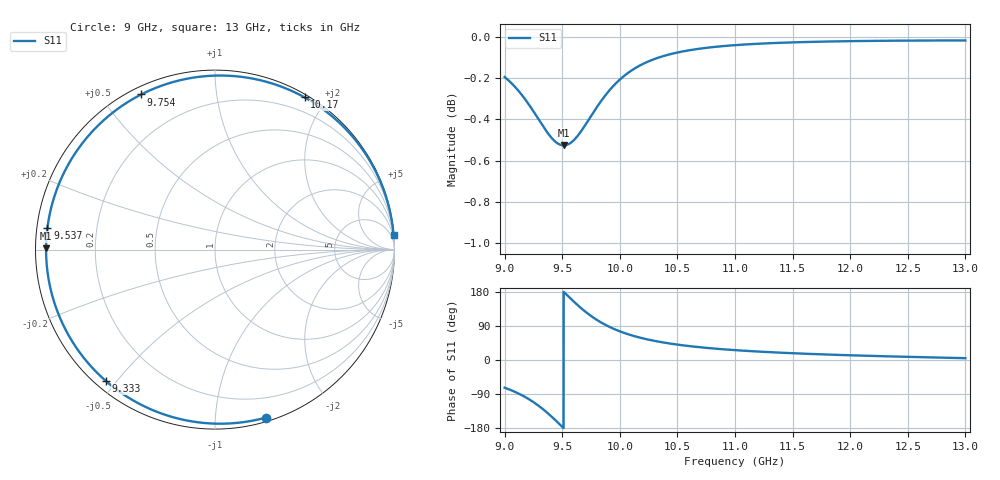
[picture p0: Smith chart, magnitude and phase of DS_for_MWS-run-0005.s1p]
! TOUCHSTONE file generated by CST DESIGN STUDIO
! Date and time: Tue Feb  4 14:06:50 2025
! Project name: C:\Work\MatlabApps\UnitCellOptimizationMatlab\CST\unitcell.cst
! Tree item: Tasks\Sweep1\SPara1\S-Parameters
! Header version: 2024
! Port assignment regex: !\s*Touchstone port\s*([0-9]+)\s*=\s*(CST MWS port|CST DES external port|CST DES block port)\s*(.+)\s* \(\"(.*)\"\)(\s*mode\s*([0-9]+))?.*
! Touchstone port assignment:
! Touchstone port 1 = CST DES external port 1 ("")
# GHz S MA R 50
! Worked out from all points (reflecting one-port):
!   4001 points, 9 GHz to 13 GHz, reference 50 ohm
!   lowest |S11| = -0.5 dB at 9.514 GHz (marker M1), VSWR 33.03, Z = 1.51 + j0.163 ohm
!   phase of S11 starts at -73 deg and turns -282 deg over the sweep
!   S11 on the Smith chart (normalised r, x): 9 GHz: 0.03, -1.35; 9.333 GHz: 0.03, -0.47; 9.537 GHz: 0.03, +0.06; 9.754 GHz: 0.03, +0.63; 10.17 GHz: 0.03, +1.75; 13 GHz: 1, +24
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9  0.978 -73.1
9.09  0.9726 -84.1
9.194  0.9645 -100.4
9.267  0.9578 -114.6
9.333  0.9514 -129.7
9.378  0.9475 -141.2
9.425  0.9441 -154.2
9.463  0.9422 -165.2
9.5  0.9413 -176.2
9.514  0.9412 179.6
9.537  0.9414 172.8
9.591  0.9434 156.9
9.651  0.9476 140.3
9.702  0.9522 127.3
9.754  0.9572 115.4
9.805  0.962 105.0
9.861  0.9669 95.1
10  0.9765 75.7
10.081  0.9806 67.1
10.168  0.9841 59.5
10.319  0.9883 49.4
10.5  0.9914 40.6
10.722  0.9938 32.9
11  0.9955 26.0
11.5  0.9971 17.9
12  0.9978 12.4
12.5  0.9981 8.3
13  0.9982 4.8
